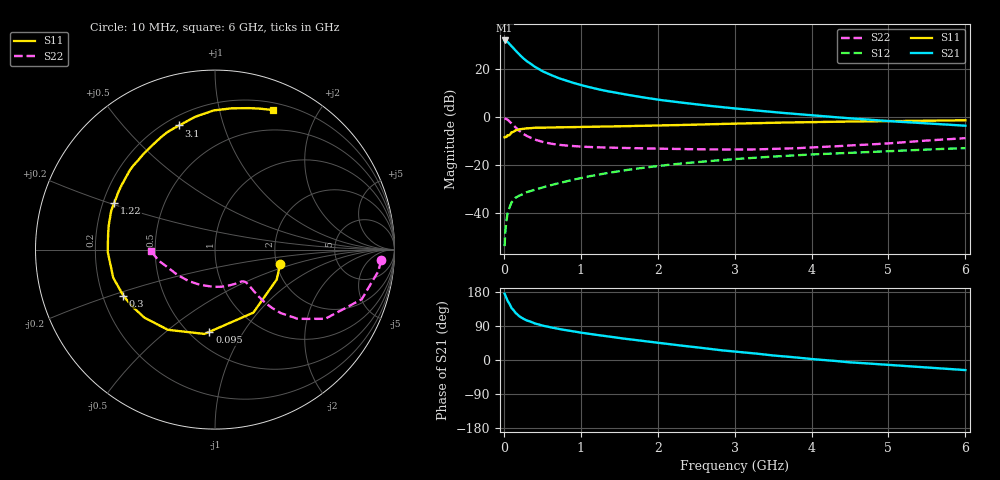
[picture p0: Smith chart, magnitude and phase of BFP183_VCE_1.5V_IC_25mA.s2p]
! Infineon Technologies  Discrete & RF Semiconductors
! BFP183
! VCE = 1.5 V,  IC =  25 mA
! Common Emitter S-Parameters:  Jan 2016
# GHz  S  MA  R  50
!  f  S11  S21  S12  S22
! GHz  MAG  ANG  MAG  ANG  MAG  ANG  MAG  ANG
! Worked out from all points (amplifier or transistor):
!   210 points, 10 MHz to 6 GHz, reference 50 ohm
!   highest |S21| = 31.8 dB at 10 MHz (marker M1)
!   |S21| within 3 dB of that: start of sweep to 118.3 MHz
!   unconditionally stable (mu >= 1): 546.6 MHz to end of sweep
!   at 185 MHz: K = 0.51, MSG = 29.8 dB, |S12| = -33.2 dB
!   at 1.52 GHz: K = 1.25, MAG = 13.1 dB, |S12| = -22.6 dB
!   at 6 GHz: K = 1.01, MAG = 4.0 dB, |S12| = -13.1 dB
!   S11 on the Smith chart (normalised r, x): 10 MHz: 2.09, -0.40; 95 MHz: 0.62, -0.72; 300 MHz: 0.29, -0.22; 1.22 GHz: 0.25, +0.21; 3.1 GHz: 0.25, +0.72; 6 GHz: 0.27, +1.46
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0.01  0.3717 -12.8  38.81 175.0  0.002 77.9  0.9283 -3.7
0.02  0.3822 -25.9  38.65 170.2  0.0042 81.5  0.9168 -7.7
0.05  0.4111 -58.7  36.19 155.8  0.0099 74.7  0.863 -18.7
0.095  0.4591 -93.9  30.14 139.6  0.0156 59.2  0.7366 -30.6
0.1  0.4735 -97.1  29.65 137.4  0.0163 58.2  0.7249 -32.2
0.15  0.5182 -120.4  24.12 124.6  0.0204 51.9  0.6011 -39.9
0.2  0.546 -135.9  19.83 115.5  0.0226 49.7  0.5089 -44.0
0.24  0.5561 -143.8  17.23 110.4  0.024 48.4  0.4559 -45.6
0.26  0.5616 -147.3  16.14 108.1  0.0248 48.0  0.4332 -46.1
0.3  0.5715 -153.4  14.32 104.3  0.0268 47.7  0.395 -46.8
0.4  0.5882 -164.5  11.06 96.6  0.0298 48.6  0.3345 -47.1
0.5  0.5897 -172.7  8.905 90.9  0.0335 49.6  0.298 -46.7
0.6  0.5977 -178.8  7.542 86.4  0.037 52.0  0.2756 -46.4
0.8  0.6027 171.0  5.707 78.8  0.0443 54.3  0.2512 -46.6
1.02  0.6134 161.9  4.482 71.7  0.0532 55.2  0.237 -48.3
1.22  0.6191 155.0  3.751 66.0  0.0614 55.4  0.23 -50.8
1.52  0.6316 145.8  3.024 57.5  0.0742 54.6  0.2235 -55.7
2.02  0.6557 131.2  2.247 44.8  0.094 51.2  0.2162 -66.9
3.1  0.7202 106.1  1.436 20.4  0.134 41.5  0.2065 -99.4
4.1  0.7779 89.0  1.04 1.0  0.1658 32.3  0.2317 -133.3
5.1  0.8106 76.5  0.792 -14.4  0.1937 24.2  0.285 -160.5
6  0.8415 67.6  0.648 -26.7  0.2207 15.4  0.3571 -178.7
